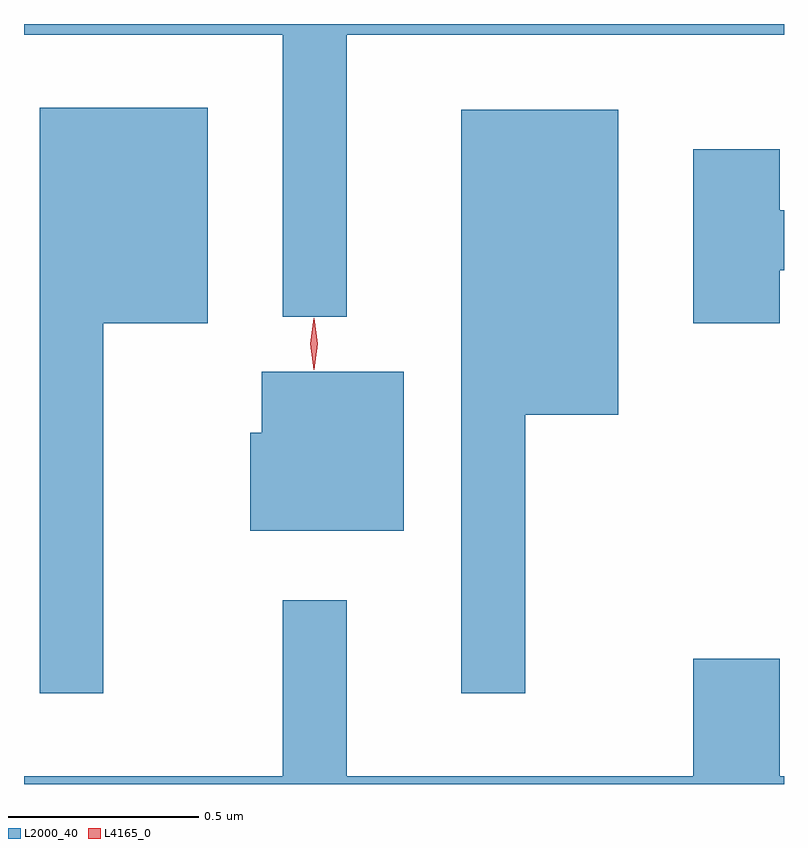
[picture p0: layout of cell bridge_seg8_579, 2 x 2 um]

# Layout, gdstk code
import gdstk
lib = gdstk.Library(unit=1e-6, precision=1e-09)
def P(c, l, *ps):  # polygons
    for p in ps: c.add(gdstk.Polygon(p, *l))
L2000_40 = (2000, 40)
L4165_0 = (4165, 0)

bridge_seg8_579 = lib.new_cell('bridge_seg8_579')
P(bridge_seg8_579, L2000_40, [(554.809,1825.316),(555.96,1825.316),(555.96,1825.344),(553.96,1825.344),(553.96,1825.316),(554.641,1825.316),(554.641,1824.573),(554.809,1824.573)],
  [(554.169,1824.556),(554.444,1824.556),(554.444,1825.124),(554.001,1825.124),(554.001,1823.583),(554.169,1823.583)],
  [(555.279,1824.316),(555.524,1824.316),(555.524,1825.119),(555.111,1825.119),(555.111,1823.583),(555.279,1823.583)],
  [(555.949,1824.696),(555.96,1824.696),(555.96,1824.854),(555.949,1824.854),(555.949,1825.014),(555.721,1825.014),(555.721,1824.556),(555.949,1824.556)],
  [(554.959,1824.429),(554.586,1824.429),(554.586,1824.269),(554.556,1824.269),(554.556,1824.011),(554.959,1824.011)],
  [(555.96,1823.364),(555.949,1823.364),(555.949,1823.674),(555.721,1823.674),(555.721,1823.364),(554.809,1823.364),(554.809,1823.828),(554.641,1823.828),(554.641,1823.364),(553.96,1823.364),(553.96,1823.344),(555.96,1823.344)])
P(bridge_seg8_579, L4165_0, [(554.723,1824.439),(554.723,1824.439),(554.713,1824.503),(554.723,1824.567),(554.723,1824.567),(554.724,1824.567),(554.733,1824.503),(554.724,1824.439)],
  [(554.723,1824.434),(554.723,1824.434),(554.713,1824.502),(554.723,1824.57),(554.723,1824.57),(554.724,1824.57),(554.733,1824.502),(554.724,1824.434)])

lib.write_gds('bridge_seg8_579.gds')
